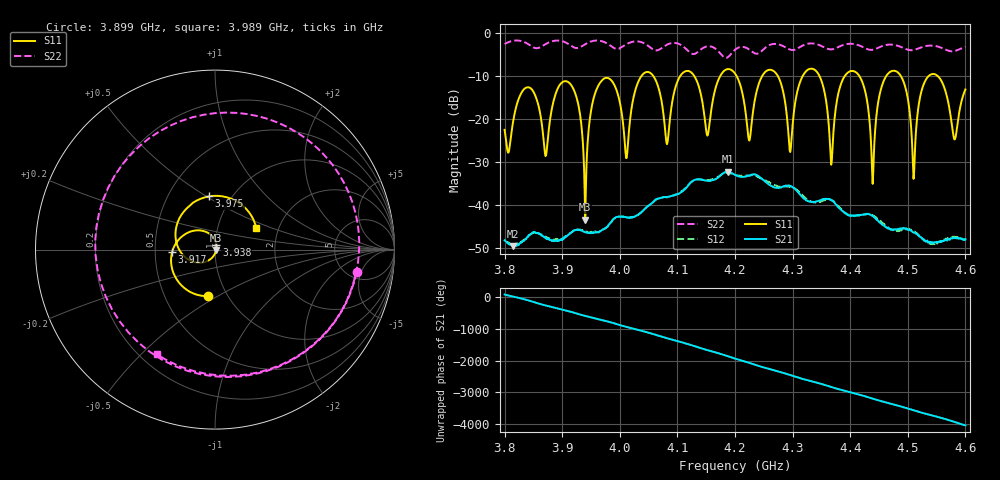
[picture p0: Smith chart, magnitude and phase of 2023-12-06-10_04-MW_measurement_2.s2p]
!Created with skrf (http://scikit-rf.org).
# Hz S RI R 50.0
!freq ReS11 ImS11 ReS21 ImS21 ReS12 ImS12 ReS22 ImS22
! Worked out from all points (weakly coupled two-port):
!   801 points, 3.8 GHz to 4.6 GHz, reference 50 ohm
!   highest |S21| = -32.21 dB at 4.187 GHz (marker M1); lowest = -49.5 dB at 3.814 GHz (marker M2)
!   lowest |S11| = -43.3 dB at 3.94 GHz (marker M3), VSWR 1.01, Z = 50.7 - j0.144 ohm
!   |S11| at or under -10 dB: start of sweep to 4.038 GHz; 4.488 GHz to 4.537 GHz (49.08 MHz wide, 1.09 % of centre); 4.551 GHz to end of sweep (the widest 3 of 9)
!   |S22| runs from -5.9 to -1.8 dB; largest |S21 - S12| = 0.0028
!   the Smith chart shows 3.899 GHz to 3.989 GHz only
!   S11 on the Smith chart (normalised r, x): 3.899 GHz: 0.81, -0.45; 3.917 GHz: 0.61, -0.02; 3.938 GHz: 1.01, +0.05; 3.975 GHz: 0.79, +0.51; 3.989 GHz: 1.54, +0.39
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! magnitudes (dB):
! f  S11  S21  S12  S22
! 3.8 GHz  -22.5  -48.1  -48.1  -2.7
! 3.814 GHz  -21.3  -49.5  -49.0  -1.9
! 3.899 GHz  -11.6  -47.8  -47.8  -2.0
! 3.917 GHz  -12.4  -46.1  -46.2  -3.2
! 3.934 GHz  -22.3  -45.8  -45.7  -3.2
! 3.938 GHz  -31.6  -46.1  -45.9  -2.8
! 3.94 GHz  -43.3  -46.2  -46.1  -2.7
! 3.975 GHz  -10.5  -45.3  -45.3  -2.3
! 3.989 GHz  -11.8  -43.2  -43.1  -3.5
! 4.011 GHz  -29.1  -42.8  -42.8  -2.7
! 4.067 GHz  -12.7  -38.4  -38.4  -4.0
! 4.187 GHz  -8.5  -32.2  -32.5  -5.7
! 4.2 GHz  -9.5  -33.0  -33.0  -4.0
! 4.296 GHz  -27.7  -35.5  -35.8  -4.0
! 4.334 GHz  -8.4  -39.2  -39.3  -2.5
! 4.367 GHz  -30.6  -38.8  -38.8  -3.9
! 4.415 GHz  -9.9  -42.3  -42.4  -2.9
! 4.439 GHz  -35.0  -42.5  -42.3  -4.0
! 4.467 GHz  -9.3  -45.3  -45.2  -2.8
! 4.51 GHz  -33.9  -46.3  -45.9  -4.0
! 4.535 GHz  -10.2  -48.6  -48.7  -3.0
! 4.6 GHz  -13.2  -47.9  -47.9  -3.3
